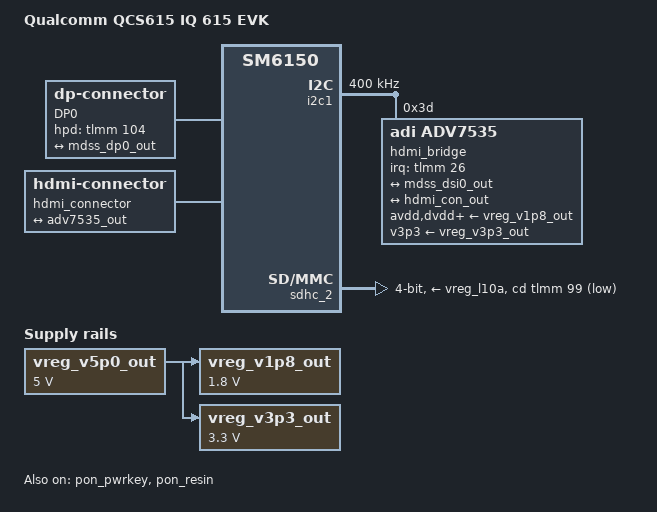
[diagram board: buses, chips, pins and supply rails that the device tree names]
// SPDX-License-Identifier: BSD-3-Clause
/*
 * Copyright (c) Qualcomm Technologies, Inc. and/or its subsidiaries.
 */
/dts-v1/;

#include "talos-evk-som.dtsi"

/ {
	model = "Qualcomm QCS615 IQ 615 EVK";
	compatible = "qcom,talos-evk", "qcom,qcs615", "qcom,sm6150";
	chassis-type = "embedded";

	aliases {
		mmc1 = &sdhc_2;
	};

	dp0-connector {
		compatible = "dp-connector";
		label = "DP0";
		type = "full-size";

		hpd-gpios = <&tlmm 104 GPIO_ACTIVE_HIGH>;

		port {
			dp0_connector_in: endpoint {
				remote-endpoint = <&mdss_dp0_out>;
			};
		};
	};

	hdmi_connector: hdmi-out {
		compatible = "hdmi-connector";
		type = "d";

		port {
			hdmi_con_out: endpoint {
			remote-endpoint = <&adv7535_out>;
			};
		};
	};

	vreg_v1p8_out: regulator-v1p8-out {
		compatible = "regulator-fixed";
		regulator-name = "vreg-v1p8-out";
		regulator-min-microvolt = <1800000>;
		regulator-max-microvolt = <1800000>;
		vin-supply = <&vreg_v5p0_out>;
		regulator-boot-on;
		regulator-always-on;
	};

	vreg_v3p3_out: regulator-v3p3-out {
		compatible = "regulator-fixed";
		regulator-name = "vreg-v3p3-out";
		regulator-min-microvolt = <3300000>;
		regulator-max-microvolt = <3300000>;
		vin-supply = <&vreg_v5p0_out>;
		regulator-boot-on;
		regulator-always-on;
	};

	vreg_v5p0_out: regulator-v5p0-out {
		compatible = "regulator-fixed";
		regulator-name = "vreg-v5p0-out";
		regulator-min-microvolt = <5000000>;
		regulator-max-microvolt = <5000000>;
		regulator-boot-on;
		regulator-always-on;
		/* Powered by system 20V rail (USBC_VBUS_IN) */
	};
};

&i2c1 {
	clock-frequency = <400000>;
	status = "okay";

	hdmi_bridge: bridge@3d {
		compatible = "adi,adv7535";
		reg = <0x3d>;
		avdd-supply = <&vreg_v1p8_out>;
		dvdd-supply = <&vreg_v1p8_out>;
		pvdd-supply = <&vreg_v1p8_out>;
		a2vdd-supply = <&vreg_v1p8_out>;
		v3p3-supply = <&vreg_v3p3_out>;
		interrupts-extended = <&tlmm 26 IRQ_TYPE_LEVEL_LOW>;
		adi,dsi-lanes = <4>;

		ports {
			#address-cells = <1>;
			#size-cells = <0>;

			port@0 {
				reg = <0>;

				adv7535_in: endpoint {
					remote-endpoint = <&mdss_dsi0_out>;
				};
			};

			port@1 {
				reg = <1>;

				adv7535_out: endpoint {
					remote-endpoint = <&hdmi_con_out>;
				};
			};
		};
	};
};

&mdss_dsi0_out {
	remote-endpoint = <&adv7535_in>;
	data-lanes = <0 1 2 3>;
};

&pon_pwrkey {
	status = "okay";
};

&pon_resin {
	linux,code = <KEY_VOLUMEDOWN>;

	status = "okay";
};

&sdhc_2 {
	pinctrl-0 = <&sdc2_state_on>;
	pinctrl-1 = <&sdc2_state_off>;
	pinctrl-names = "default", "sleep";

	bus-width = <4>;
	cd-gpios = <&tlmm 99 GPIO_ACTIVE_LOW>;

	vmmc-supply = <&vreg_l10a>;
	vqmmc-supply = <&vreg_s4a>;

	status = "okay";
};
